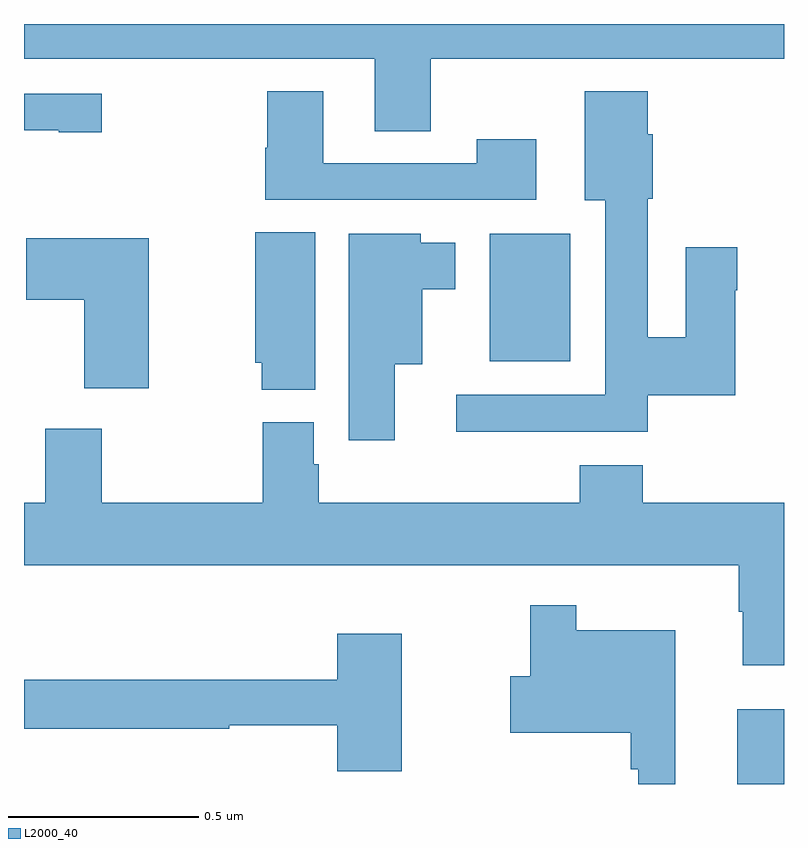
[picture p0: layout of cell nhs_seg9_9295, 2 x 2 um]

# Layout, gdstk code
import gdstk
lib = gdstk.Library(unit=1e-6, precision=1e-09)
def R(c, l, rs):  # rectangles x0, y0, x1, y1
    for r in rs: c.add(gdstk.rectangle(r[:2], r[2:], *l))
def P(c, l, *ps):  # polygons
    for p in ps: c.add(gdstk.Polygon(p, *l))
L2000_40 = (2000, 40)

nhs_seg9_9295 = lib.new_cell('nhs_seg9_9295')
R(nhs_seg9_9295, L2000_40, [(229.877,1206.5,230,1206.697), (229.226,1207.613,229.438,1207.948)])
P(nhs_seg9_9295, L2000_40, [(229.071,1208.408),(230,1208.408),(230,1208.5),(228,1208.5),(228,1208.408),(228.923,1208.408),(228.923,1208.218),(229.071,1208.218)],
  [(229.348,1208.197),(229.192,1208.197),(229.192,1208.133),(228.787,1208.133),(228.787,1208.323),(228.64,1208.323),(228.64,1208.175),(228.635,1208.175),(228.635,1208.037),(229.348,1208.037)],
  [(229.642,1207.523),(229.872,1207.523),(229.872,1207.799),(229.877,1207.799),(229.877,1207.912),(229.742,1207.912),(229.742,1207.676),(229.642,1207.676),(229.642,1208.04),(229.655,1208.04),(229.655,1208.21),(229.642,1208.21),(229.642,1208.323),(229.475,1208.323),(229.475,1208.036),(229.529,1208.036),(229.529,1207.524),(229.137,1207.524),(229.137,1207.427),(229.642,1207.427)],
  [(228.205,1208.316),(228,1208.316),(228,1208.22),(228.092,1208.22),(228.092,1208.215),(228.205,1208.215)],
  [(228.766,1207.952),(228.608,1207.952),(228.608,1207.608),(228.625,1207.608),(228.625,1207.537),(228.766,1207.537)],
  [(228.976,1207.604),(229.048,1207.604),(229.048,1207.802),(229.135,1207.802),(229.135,1207.924),(229.044,1207.924),(229.044,1207.948),(228.854,1207.948),(228.854,1207.404),(228.976,1207.404)],
  [(228.328,1207.936),(228.006,1207.936),(228.006,1207.774),(228.158,1207.774),(228.158,1207.541),(228.328,1207.541)],
  [(230,1207.24),(229.628,1207.24),(229.628,1207.339),(229.463,1207.339),(229.463,1207.24),(228.776,1207.24),(228.776,1207.341),(228.763,1207.341),(228.763,1207.452),(228.628,1207.452),(228.628,1207.24),(228.204,1207.24),(228.204,1207.435),(228.056,1207.435),(228.056,1207.24),(228,1207.24),(228,1207.076),(229.881,1207.076),(229.881,1206.953),(229.892,1206.953),(229.892,1206.813),(230,1206.813)],
  [(229.714,1206.904),(229.453,1206.904),(229.453,1206.97),(229.332,1206.97),(229.332,1206.783),(229.28,1206.783),(229.28,1206.635),(229.597,1206.635),(229.597,1206.539),(229.617,1206.539),(229.617,1206.5),(229.714,1206.5)],
  [(228.994,1206.895),(228.824,1206.895),(228.824,1206.775),(228,1206.775),(228,1206.646),(228.54,1206.646),(228.54,1206.654),(228.824,1206.654),(228.824,1206.534),(228.994,1206.534)])

lib.write_gds('nhs_seg9_9295.gds')
